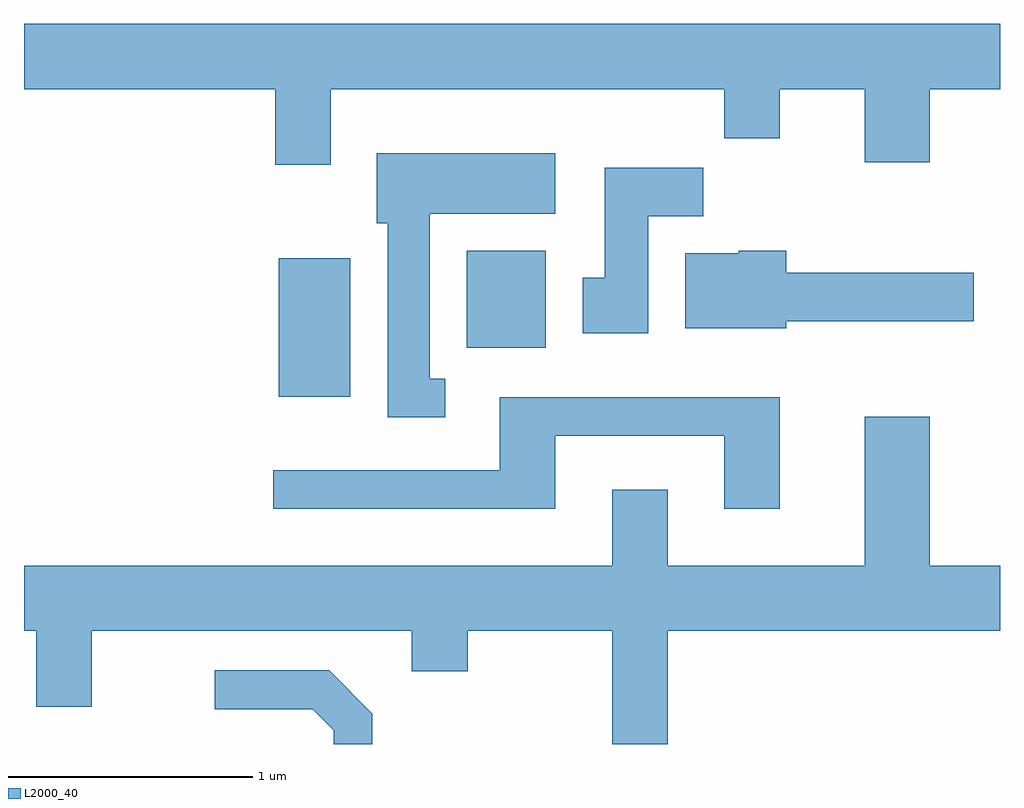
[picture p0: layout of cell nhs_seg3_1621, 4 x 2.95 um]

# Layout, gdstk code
import gdstk
lib = gdstk.Library(unit=1e-6, precision=1e-09)
def R(c, l, rs):  # rectangles x0, y0, x1, y1
    for r in rs: c.add(gdstk.rectangle(r[:2], r[2:], *l))
def P(c, l, *ps):  # polygons
    for p in ps: c.add(gdstk.Polygon(p, *l))
L2000_40 = (2000, 40)

nhs_seg3_1621 = lib.new_cell('nhs_seg3_1621')
R(nhs_seg3_1621, L2000_40, [(232.656,1231.316,232.949,1231.884), (233.426,1231.516,233.749,1231.914)])
P(nhs_seg3_1621, L2000_40, [(231.611,1232.576),(232.641,1232.576),(232.641,1232.266),(232.869,1232.266),(232.869,1232.576),(234.481,1232.576),(234.481,1232.376),(234.709,1232.376),(234.709,1232.576),(235.056,1232.576),(235.056,1232.276),(235.324,1232.276),(235.324,1232.576),(235.611,1232.576),(235.611,1232.844),(231.611,1232.844)],
  [(233.338,1231.389),(233.274,1231.389),(233.274,1232.066),(233.789,1232.066),(233.789,1232.314),(233.056,1232.314),(233.056,1232.026),(233.101,1232.026),(233.101,1231.231),(233.338,1231.231)],
  [(234.169,1232.056),(234.394,1232.056),(234.394,1232.254),(233.991,1232.254),(233.991,1231.804),(233.901,1231.804),(233.901,1231.576),(234.169,1231.576)],
  [(234.734,1231.626),(235.504,1231.626),(235.504,1231.824),(234.734,1231.824),(234.734,1231.914),(234.54,1231.914),(234.54,1231.904),(234.321,1231.904),(234.321,1231.596),(234.734,1231.596)],
  [(233.789,1231.156),(234.481,1231.156),(234.481,1230.856),(234.709,1230.856),(234.709,1231.314),(233.561,1231.314),(233.561,1231.014),(232.633,1231.014),(232.633,1230.856),(233.789,1230.856)],
  [(234.249,1230.356),(235.611,1230.356),(235.611,1230.624),(235.324,1230.624),(235.324,1231.234),(235.056,1231.234),(235.056,1230.624),(234.249,1230.624),(234.249,1230.934),(234.021,1230.934),(234.021,1230.624),(231.611,1230.624),(231.611,1230.356),(231.661,1230.356),(231.661,1230.046),(231.889,1230.046),(231.889,1230.356),(233.201,1230.356),(233.201,1230.191),(233.429,1230.191),(233.429,1230.356),(234.021,1230.356),(234.021,1229.892),(234.249,1229.892)],
  [(233.039,1230.017),(232.862,1230.194),(232.393,1230.194),(232.393,1230.036),(232.794,1230.036),(232.881,1229.949),(232.881,1229.892),(233.039,1229.892)])

lib.write_gds('nhs_seg3_1621.gds')
